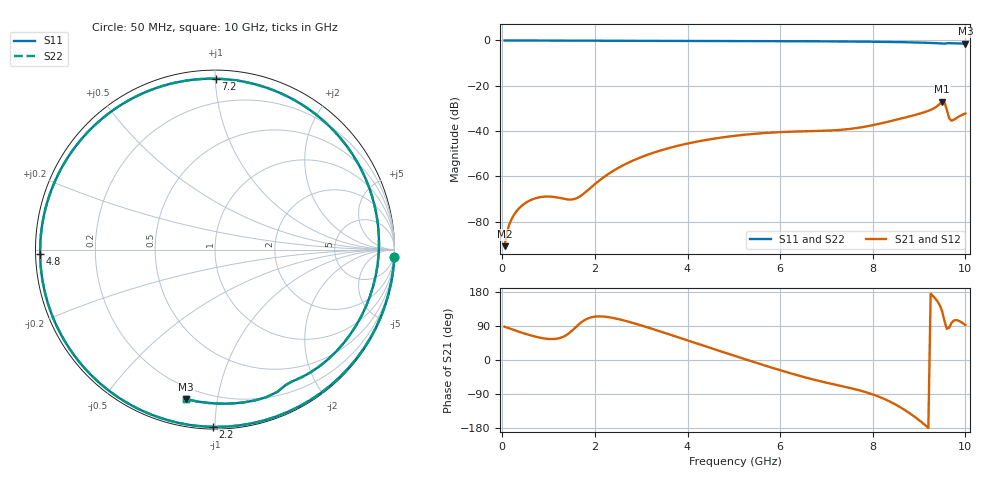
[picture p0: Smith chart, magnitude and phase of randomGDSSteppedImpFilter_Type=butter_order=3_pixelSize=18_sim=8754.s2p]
! freq	dB(S11)	phase(S11)	dB(S12)	phase(S12)
!  dB(S21)	phase(S21)	dB(S22)	phase(S22)
!S-par simulation data
#  GHz  S  DB  R 50
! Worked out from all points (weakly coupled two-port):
!   200 points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, 50 MHz to 10 GHz, reference 50 ohm
!   highest |S21| = -27.01 dB at 9.5 GHz (marker M1); lowest = -90.7 dB at 50 MHz (marker M2)
!   lowest |S11| = -1.4 dB at 10 GHz (marker M3), VSWR 12.24, Z = 6.84 - j40.8 ohm
!   |S11| at or under -10 dB: nowhere
!   |S22| runs from -1.4 to 0.0 dB; largest |S21 - S12| = 0
!   S11 on the Smith chart (normalised r, x): 50 MHz: 0, -52; 2.2 GHz: 0.01, -0.99; 4.8 GHz: 0.01, -0.01; 7.2 GHz: 0.05, +1.00; 10 GHz: 0.14, -0.82
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0.05  -0.00 -2.2  -90.74 87.8  -90.74 87.8  -0.00 -2.2
0.15  -0.01 -6.6  -81.27 83.5  -81.27 83.5  -0.01 -6.6
0.4  -0.02 -17.5  -73.27 73.0  -73.27 73.0  -0.02 -17.5
0.7  -0.04 -30.5  -69.73 62.1  -69.73 62.1  -0.04 -30.5
1.5  -0.08 -63.7  -70.15 76.7  -70.15 76.7  -0.08 -63.7
1.75  -0.09 -73.6  -67.71 103.3  -67.71 103.3  -0.09 -73.6
2.2  -0.11 -90.7  -60.17 114.5  -60.17 114.5  -0.11 -90.7
3.4  -0.15 -132.7  -48.64 75.8  -48.64 75.8  -0.15 -132.7
4.1  -0.18 -155.8  -45.04 47.7  -45.04 47.7  -0.18 -155.7
4.8  -0.22 -178.6  -42.63 19.6  -42.63 19.6  -0.22 -178.5
5.05  -0.24 173.1  -41.99 9.6  -41.99 9.6  -0.24 173.2
5.9  -0.30 143.6  -40.54 -23.3  -40.54 -23.3  -0.30 143.6
6.7  -0.37 112.2  -39.98 -51.0  -39.98 -51.0  -0.37 112.3
7.2  -0.42 89.8  -39.58 -65.5  -39.58 -65.5  -0.43 89.9
7.8  -0.52 58.8  -38.15 -83.1  -38.15 -83.1  -0.52 58.9
8.35  -0.65 25.5  -35.76 -108.6  -35.76 -108.6  -0.65 25.6
8.9  -0.87 -13.1  -32.94 -149.5  -32.94 -149.5  -0.87 -12.9
9.5  -1.40 -59.5  -27.01 127.5  -27.01 127.5  -1.40 -59.4
9.55  -1.40 -62.6  -27.32 102.3  -27.32 102.3  -1.40 -62.5
9.65  -1.20 -71.0  -34.32 85.2  -34.32 85.2  -1.20 -71.0
9.7  -1.22 -75.6  -35.43 97.7  -35.43 97.7  -1.22 -75.5
10  -1.42 -100.9  -32.21 92.4  -32.21 92.4  -1.43 -100.9
